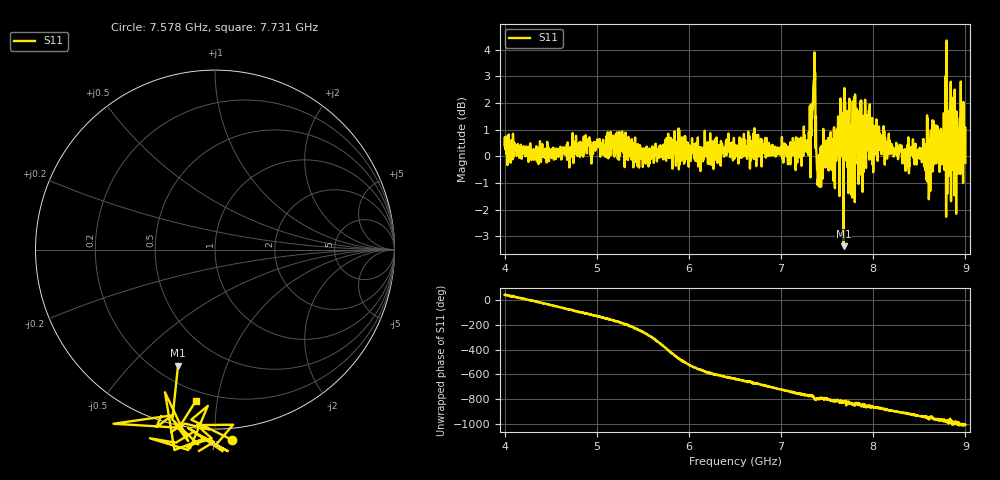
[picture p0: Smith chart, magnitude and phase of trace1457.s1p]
! Created with skrf 1.8.0 (http://scikit-rf.org).
# Hz S RI R 50.0
!freq ReS11 ImS11
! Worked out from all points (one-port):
!   1601 points, 4 GHz to 9 GHz, reference 50 ohm
!   lowest |S11| = -3.4 dB at 7.678 GHz (marker M1), VSWR 5.22, Z = 14.4 - j34.5 ohm
!   |S11| at or under -10 dB: nowhere
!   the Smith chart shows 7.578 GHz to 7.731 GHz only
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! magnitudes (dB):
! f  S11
! 4 GHz  0.4
! 4.625 GHz  0.0
! 5.25 GHz  0.0
! 5.572 GHz  0.3
! 5.875 GHz  -0.1
! 6.5 GHz  0.1
! 7.125 GHz  0.3
! 7.294 GHz  0.2
! 7.347 GHz  2.1
! 7.366 GHz  2.7
! 7.397 GHz  -1.1
! 7.412 GHz  0.1
! 7.484 GHz  0.5
! 7.678 GHz  -3.4
! 7.75 GHz  -0.3
! 7.775 GHz  1.2
! 7.8 GHz  -1.7
! 7.909 GHz  1.3
! 7.928 GHz  0.8
! 8.375 GHz  0.0
! 8.522 GHz  0.2
! 8.612 GHz  0.6
! 8.647 GHz  -0.6
! 8.766 GHz  1.6
! 8.809 GHz  1.5
! 8.869 GHz  -0.4
! 8.972 GHz  0.5
! 9 GHz  -0.2
